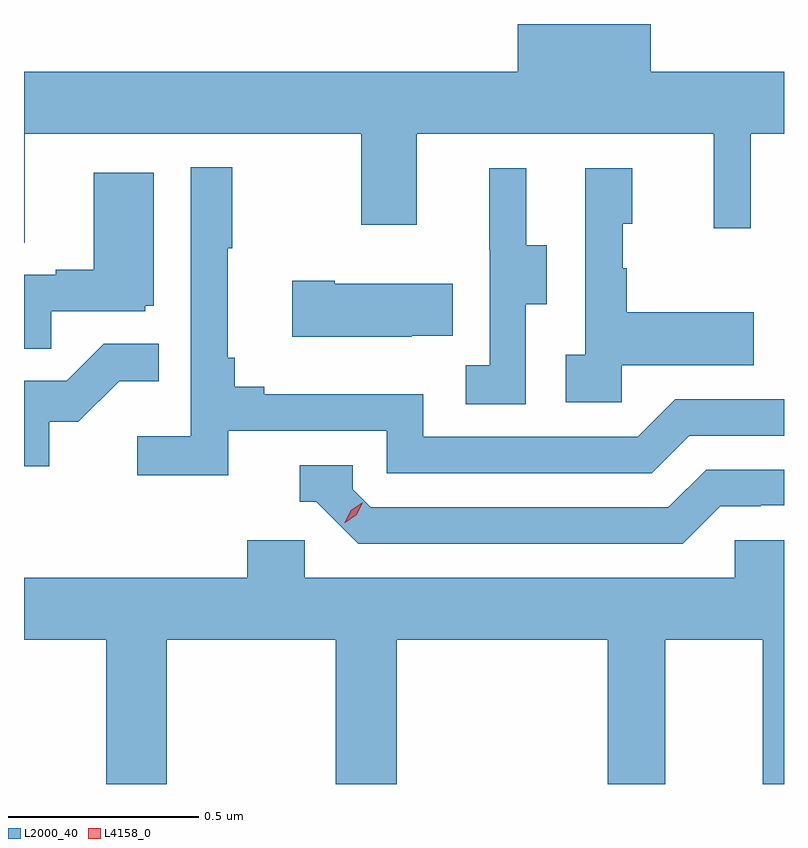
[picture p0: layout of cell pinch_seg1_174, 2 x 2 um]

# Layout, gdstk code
import gdstk
lib = gdstk.Library(unit=1e-6, precision=1e-09)
def P(c, l, *ps):  # polygons
    for p in ps: c.add(gdstk.Polygon(p, *l))
L2000_40 = (2000, 40)
L4158_0 = (4158, 0)

pinch_seg1_174 = lib.new_cell('pinch_seg1_174')
P(pinch_seg1_174, L2000_40, [(1109.773,545.072),(1110.658,545.072),(1110.658,544.833),(1110.805,544.833),(1110.805,545.072),(1111.586,545.072),(1111.586,544.824),(1111.683,544.824),(1111.683,545.072),(1111.771,545.072),(1111.771,545.236),(1111.42,545.236),(1111.42,545.361),(1111.07,545.361),(1111.07,545.236),(1109.771,545.236),(1109.771,544.786),(1109.773,544.786)],
  [(1110.308,544.29),(1110.726,544.29),(1110.726,544.179),(1111.423,544.179),(1111.522,544.278),(1111.771,544.278),(1111.771,544.374),(1111.485,544.374),(1111.386,544.275),(1110.822,544.275),(1110.822,544.387),(1110.403,544.387),(1110.403,544.406),(1110.326,544.406),(1110.326,544.483),(1110.307,544.483),(1110.307,544.771),(1110.319,544.771),(1110.319,544.984),(1110.21,544.984),(1110.21,544.276),(1110.069,544.276),(1110.069,544.174),(1110.308,544.174)],
  [(1111.344,544.463),(1111.691,544.463),(1111.691,544.603),(1111.357,544.603),(1111.357,544.718),(1111.347,544.718),(1111.347,544.836),(1111.372,544.836),(1111.372,544.981),(1111.248,544.981),(1111.248,544.49),(1111.197,544.49),(1111.197,544.365),(1111.344,544.365)],
  [(1111.092,544.624),(1111.147,544.624),(1111.147,544.779),(1111.093,544.779),(1111.093,544.981),(1110.995,544.981),(1110.995,544.767),(1110.996,544.767),(1110.996,544.463),(1110.933,544.463),(1110.933,544.36),(1111.092,544.36)],
  [(1109.843,544.605),(1110.09,544.605),(1110.09,544.62),(1110.112,544.62),(1110.112,544.969),(1109.954,544.969),(1109.954,544.714),(1109.855,544.714),(1109.855,544.701),(1109.771,544.701),(1109.771,544.507),(1109.843,544.507)],
  [(1110.791,544.541),(1110.899,544.541),(1110.899,544.678),(1110.589,544.678),(1110.589,544.686),(1110.477,544.686),(1110.477,544.538),(1110.791,544.538)],
  [(1109.838,544.314),(1109.914,544.314),(1110.021,544.421),(1110.125,544.421),(1110.125,544.52),(1109.981,544.52),(1109.883,544.422),(1109.771,544.422),(1109.771,544.197),(1109.838,544.197)],
  [(1111.603,544.092),(1111.71,544.092),(1111.71,544.095),(1111.771,544.095),(1111.771,544.188),(1111.566,544.188),(1111.467,544.089),(1110.684,544.089),(1110.636,544.137),(1110.636,544.2),(1110.497,544.2),(1110.497,544.104),(1110.54,544.104),(1110.651,543.993),(1111.504,543.993)],
  [(1110.147,543.74),(1110.592,543.74),(1110.592,543.361),(1110.752,543.361),(1110.752,543.74),(1111.307,543.74),(1111.307,543.361),(1111.459,543.361),(1111.459,543.74),(1111.715,543.74),(1111.715,543.361),(1111.771,543.361),(1111.771,544.002),(1111.641,544.002),(1111.641,543.904),(1110.51,543.904),(1110.51,544.002),(1110.359,544.002),(1110.359,543.904),(1109.771,543.904),(1109.771,543.74),(1109.987,543.74),(1109.987,543.361),(1110.147,543.361)])
P(pinch_seg1_174, L4158_0, [(1110.615,544.049),(1110.615,544.049),(1110.631,544.082),(1110.661,544.101),(1110.662,544.101),(1110.662,544.101),(1110.646,544.069),(1110.616,544.049)])

lib.write_gds('pinch_seg1_174.gds')
